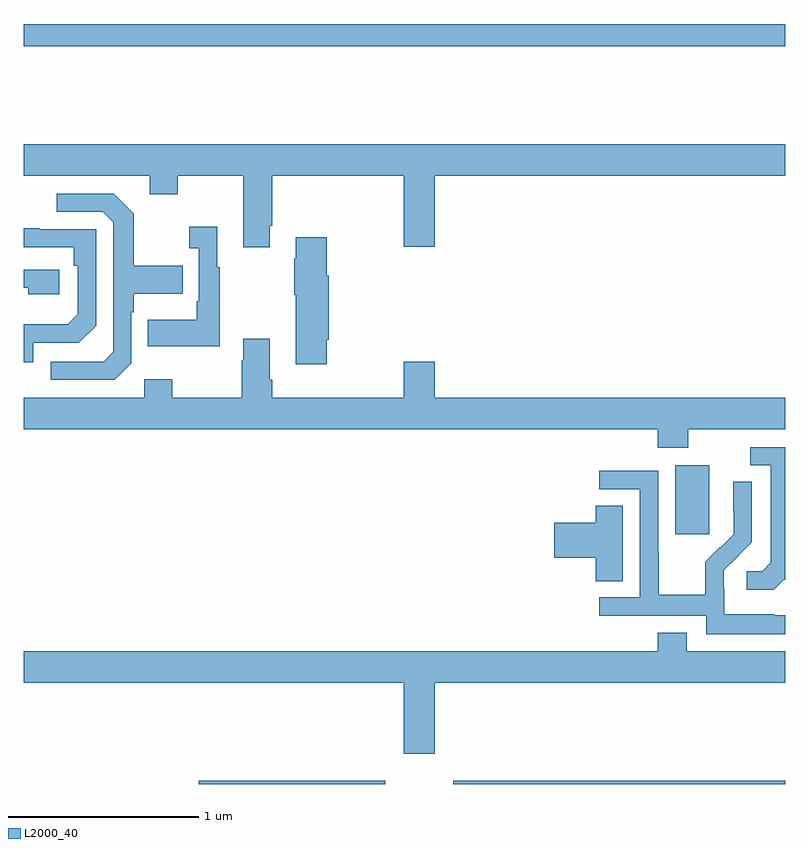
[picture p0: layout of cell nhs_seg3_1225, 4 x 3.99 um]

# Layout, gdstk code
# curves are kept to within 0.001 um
import gdstk
lib = gdstk.Library(unit=1e-6, precision=1e-09)
def R(c, l, rs):  # rectangles x0, y0, x1, y1
    for r in rs: c.add(gdstk.rectangle(r[:2], r[2:], *l))
def P(c, l, *ps):  # polygons
    for p in ps: c.add(gdstk.Polygon(p, *l))
L2000_40 = (2000, 40)

nhs_seg3_1225 = lib.new_cell('nhs_seg3_1225')
R(nhs_seg3_1225, L2000_40, [(175.919,684.4,176.9,684.416), (177.256,684.4,179,684.416), (178.421,685.713,178.6,686.074), (175,688.276,179,688.392)])
P(nhs_seg3_1225, L2000_40, [(176.293,687.331),(176.306,687.331),(176.306,687.596),(176.996,687.596),(176.996,687.222),(177.16,687.222),(177.16,687.596),(179,687.596),(179,687.76),(175,687.76),(175,687.596),(175.661,687.596),(175.661,687.497),(175.809,687.497),(175.809,687.596),(176.153,687.596),(176.153,687.219),(176.293,687.219)],
  [(175.566,686.61),(175.566,686.879),(175.579,686.879),(175.579,686.975),(175.835,686.975),(175.835,687.123),(175.579,687.123),(175.579,687.395),(175.473,687.501),(175.173,687.501),(175.173,687.405),(175.416,687.405),(175.47,687.351),(175.47,686.67),(175.419,686.619),(175.143,686.619),(175.143,686.523),(175.479,686.523)],
  [(176.029,687.115),(176.017,687.115),(176.017,687.328),(175.869,687.328),(175.869,687.215),(175.92,687.215),(175.92,686.935),(175.908,686.935),(175.908,686.839),(175.651,686.839),(175.651,686.699),(176.029,686.699)],
  [(175.05,686.718),(175.29,686.718),(175.38,686.808),(175.38,687.315),(175.085,687.315),(175.085,687.32),(175,687.32),(175,687.219),(175.264,687.219),(175.264,687.122),(175.284,687.122),(175.284,686.868),(175.231,686.815),(175,686.815),(175,686.616),(175.05,686.616)],
  [(176.592,686.733),(176.602,686.733),(176.602,687.069),(176.592,687.069),(176.592,687.271),(176.429,687.271),(176.429,687.158),(176.422,687.158),(176.422,686.969),(176.429,686.969),(176.429,686.604),(176.592,686.604)],
  [(175.186,687.102),(175,687.102),(175,687.006),(175.025,687.006),(175.025,686.972),(175.186,686.972)],
  [(178.491,686.264),(179,686.264),(179,686.428),(177.16,686.428),(177.16,686.617),(176.996,686.617),(176.996,686.428),(176.306,686.428),(176.306,686.524),(176.293,686.524),(176.293,686.74),(176.153,686.74),(176.153,686.627),(176.146,686.627),(176.146,686.428),(175.779,686.428),(175.779,686.527),(175.632,686.527),(175.632,686.428),(175,686.428),(175,686.264),(178.331,686.264),(178.331,686.165),(178.491,686.165)],
  [(178.992,685.473),(179,685.473),(179,686.169),(178.815,686.169),(178.815,686.073),(178.925,686.073),(178.925,685.565),(178.878,685.518),(178.797,685.518),(178.797,685.421),(178.94,685.421)],
  [(179,685.287),(178.943,685.287),(178.943,685.291),(178.68,685.291),(178.68,685.425),(178.678,685.425),(178.678,685.522),(178.824,685.67),(178.824,685.988),(178.728,685.988),(178.728,685.834),(178.73,685.834),(178.73,685.712),(178.659,685.641),(178.656,685.644),(178.579,685.567),(178.579,685.393),(178.335,685.393),(178.335,685.616),(178.332,685.616),(178.332,686.046),(178.023,686.046),(178.023,685.947),(178.236,685.947),(178.236,685.38),(178.023,685.38),(178.023,685.284),(178.584,685.284),(178.584,685.187),(179,685.187)],
  [(178.147,685.862),(178.004,685.862),(178.004,685.772),(177.786,685.772),(177.786,685.589),(178.004,685.589),(178.004,685.465),(178.147,685.465)],
  [(177.16,684.932),(179,684.932),(179,685.096),(178.483,685.096),(178.483,685.195),(178.331,685.195),(178.331,685.096),(175,685.096),(175,684.932),(176.996,684.932),(176.996,684.558),(177.16,684.558)])

lib.write_gds('nhs_seg3_1225.gds')
